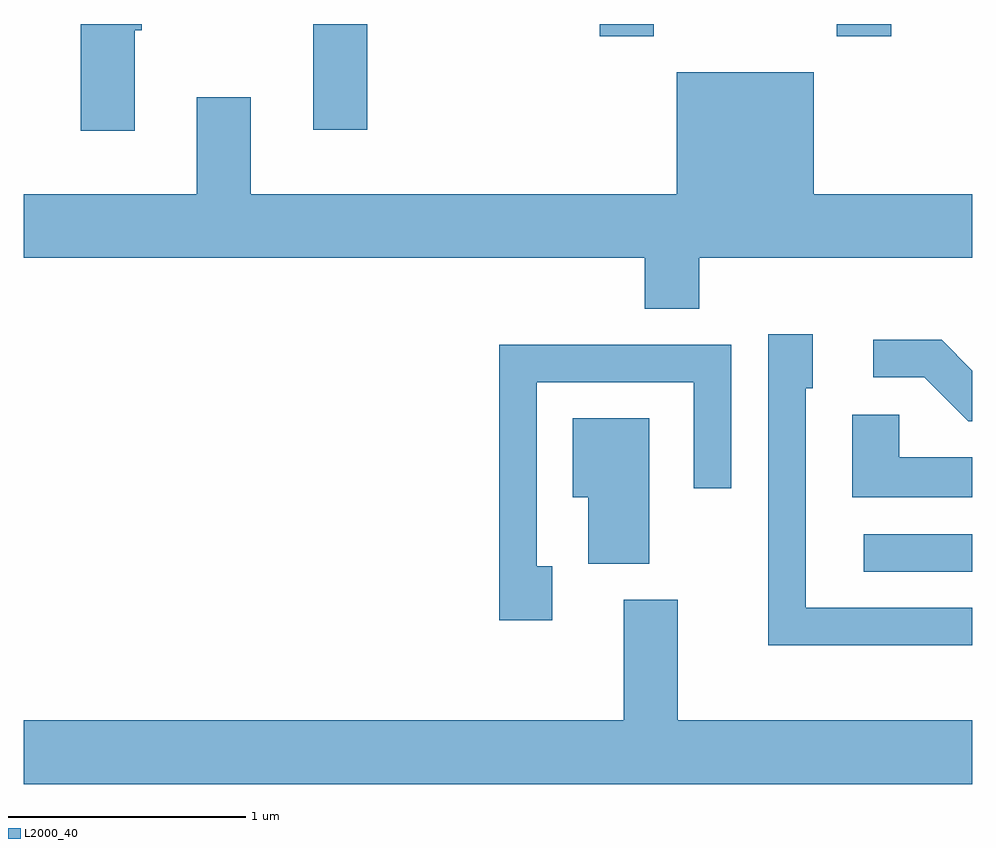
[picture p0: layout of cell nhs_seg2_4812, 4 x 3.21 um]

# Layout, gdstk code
import gdstk
lib = gdstk.Library(unit=1e-6, precision=1e-09)
def R(c, l, rs):  # rectangles x0, y0, x1, y1
    for r in rs: c.add(gdstk.rectangle(r[:2], r[2:], *l))
def P(c, l, *ps):  # polygons
    for p in ps: c.add(gdstk.Polygon(p, *l))
L2000_40 = (2000, 40)

nhs_seg2_4812 = lib.new_cell('nhs_seg2_4812')
R(nhs_seg2_4812, L2000_40, [(331.153,991.491,331.611,991.649), (328.831,993.356,329.059,993.802), (330.041,993.751,330.269,993.802), (331.041,993.751,331.269,993.802)])
P(nhs_seg2_4812, L2000_40, [(328.079,993.776),(328.109,993.776),(328.109,993.802),(327.851,993.802),(327.851,993.351),(328.079,993.351)],
  [(328.341,993.494),(328.341,993.084),(327.611,993.084),(327.611,992.816),(330.231,992.816),(330.231,992.601),(330.459,992.601),(330.459,992.816),(331.611,992.816),(331.611,993.084),(330.944,993.084),(330.944,993.599),(330.366,993.599),(330.366,993.084),(328.569,993.084),(328.569,993.494)],
  [(331.611,991.339),(330.909,991.339),(330.909,992.266),(330.939,992.266),(330.939,992.494),(330.751,992.494),(330.751,991.181),(331.611,991.181)],
  [(331.611,992.34),(331.482,992.469),(331.193,992.469),(331.193,992.311),(331.409,992.311),(331.594,992.126),(331.611,992.126)],
  [(329.839,991.514),(329.774,991.514),(329.774,992.291),(330.436,992.291),(330.436,991.843),(330.594,991.843),(330.594,992.449),(329.616,992.449),(329.616,991.286),(329.839,991.286)],
  [(331.611,991.974),(331.304,991.974),(331.304,992.154),(331.106,992.154),(331.106,991.806),(331.611,991.806)],
  [(330.249,992.139),(329.926,992.139),(329.926,991.806),(329.991,991.806),(329.991,991.526),(330.249,991.526)],
  [(331.611,990.864),(330.369,990.864),(330.369,991.374),(330.141,991.374),(330.141,990.864),(327.611,990.864),(327.611,990.596),(331.611,990.596)])

lib.write_gds('nhs_seg2_4812.gds')
